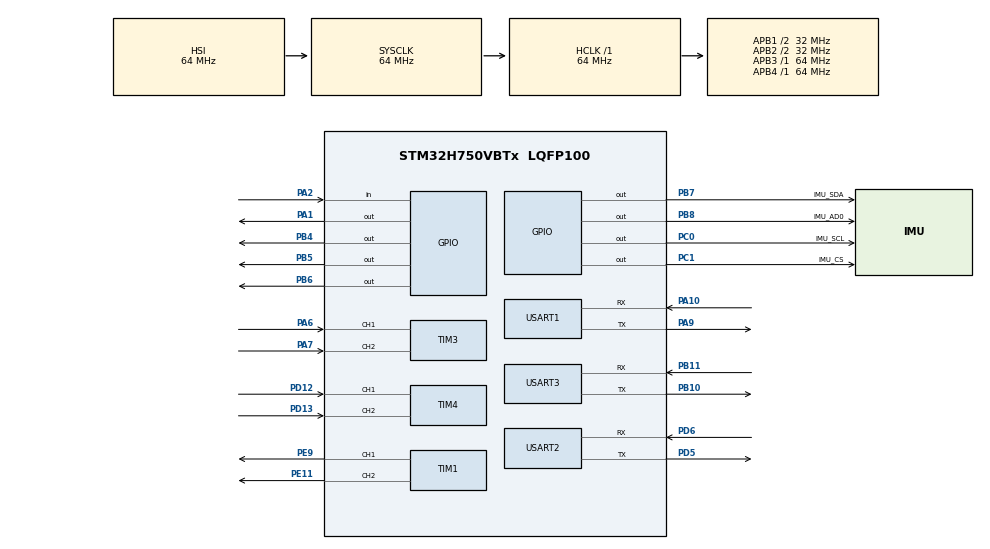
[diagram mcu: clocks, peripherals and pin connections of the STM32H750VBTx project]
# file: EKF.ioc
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Mcu.Family=STM32H7
Mcu.Name=STM32H750VBTx
Mcu.Package=LQFP100
NVIC.PriorityGroup=NVIC_PRIORITYGROUP_4
NVIC.TIM2_IRQn=true\:0\:0\:false\:false\:true\:true\:true\:true
NVIC.USART1_IRQn=true\:0\:0\:false\:false\:true\:true\:true\:true
PA1.GPIO_Speed=GPIO_SPEED_FREQ_HIGH
PA1.PinState=GPIO_PIN_SET
PA1.Signal=GPIO_Output
PA10.Mode=Asynchronous
PA10.Signal=USART1_RX
PA2.Signal=GPIO_Input
PA6.Signal=S_TIM3_CH1
PA7.Signal=S_TIM3_CH2
PA9.Mode=Asynchronous
PA9.Signal=USART1_TX
PB10.Mode=Asynchronous
PB10.Signal=USART3_TX
PB11.Mode=Asynchronous
PB11.Signal=USART3_RX
PB4\ (NJTRST).GPIO_ModeDefaultOutputPP=GPIO_MODE_OUTPUT_OD
PB4\ (NJTRST).GPIO_PuPd=GPIO_PULLUP
PB4\ (NJTRST).GPIO_Speed=GPIO_SPEED_FREQ_HIGH
PB4\ (NJTRST).PinState=GPIO_PIN_SET
PB4\ (NJTRST).Signal=GPIO_Output
PB5.GPIO_ModeDefaultOutputPP=GPIO_MODE_OUTPUT_OD
PB5.GPIO_PuPd=GPIO_PULLUP
PB5.GPIO_Speed=GPIO_SPEED_FREQ_HIGH
PB5.PinState=GPIO_PIN_SET
PB5.Signal=GPIO_Output
PB6.Signal=GPIO_Output
PB7.GPIO_Label=IMU_SDA
PB7.GPIO_ModeDefaultOutputPP=GPIO_MODE_OUTPUT_OD
PB7.GPIO_PuPd=GPIO_NOPULL
PB7.GPIO_Speed=GPIO_SPEED_FREQ_HIGH
PB7.PinState=GPIO_PIN_SET
PB7.Signal=GPIO_Output
PB8.GPIO_Label=IMU_AD0
PB8.GPIO_ModeDefaultOutputPP=GPIO_MODE_OUTPUT_PP
PB8.GPIO_PuPd=GPIO_PULLUP
PB8.GPIO_Speed=GPIO_SPEED_FREQ_MEDIUM
PB8.PinState=GPIO_PIN_SET
PB8.Signal=GPIO_Output
PC0.GPIO_Label=IMU_SCL
PC0.GPIO_ModeDefaultOutputPP=GPIO_MODE_OUTPUT_OD
PC0.GPIO_PuPd=GPIO_PULLUP
PC0.GPIO_Speed=GPIO_SPEED_FREQ_HIGH
PC0.PinState=GPIO_PIN_SET
PC0.Signal=GPIO_Output
PC1.GPIO_Label=IMU_CS
PC1.GPIO_ModeDefaultOutputPP=GPIO_MODE_OUTPUT_PP
PC1.GPIO_PuPd=GPIO_PULLUP
PC1.GPIO_Speed=GPIO_SPEED_FREQ_MEDIUM
PC1.PinState=GPIO_PIN_SET
PC1.Signal=GPIO_Output
PD12.Signal=S_TIM4_CH1
PD13.Signal=S_TIM4_CH2
PD5.Mode=Asynchronous
PD5.Signal=USART2_TX
PD6.Mode=Asynchronous
PD6.Signal=USART2_RX
PE11.Signal=S_TIM1_CH2
PE9.Signal=S_TIM1_CH1
PH0-OSC_IN\ (PH0).Mode=HSE-External-Oscillator
PH0-OSC_IN\ (PH0).Signal=RCC_OSC_IN
PH1-OSC_OUT\ (PH1).Mode=HSE-External-Oscillator
PH1-OSC_OUT\ (PH1).Signal=RCC_OSC_OUT
ProjectManager.HeapSize=0x200
ProjectManager.StackSize=0x400
ProjectManager.TargetToolchain=MDK-ARM V5.32
RCC.ADCFreq_Value=129000000
RCC.APB1Freq_Value=32000000
RCC.APB2Freq_Value=32000000
RCC.APB3Freq_Value=64000000
RCC.APB4Freq_Value=64000000
RCC.CortexFreq_Value=64000000
RCC.D2PPRE1=RCC_APB1_DIV2
RCC.D2PPRE2=RCC_APB2_DIV2
RCC.HCLKFreq_Value=64000000
RCC.PLL2FRACN=0
RCC.PLL3FRACN=0
RCC.PLLFRACN=0
RCC.SYSCLKFreq_VALUE=64000000
RCC.USBFreq_Value=129000000
SH.S_TIM1_CH1.0=TIM1_CH1,PWM Generation1 CH1
SH.S_TIM1_CH2.0=TIM1_CH2,Output Compare2 CH2
SH.S_TIM3_CH1.0=TIM3_CH1,Encoder_Interface
SH.S_TIM3_CH2.0=TIM3_CH2,Encoder_Interface
SH.S_TIM4_CH1.0=TIM4_CH1,Encoder_Interface
SH.S_TIM4_CH2.0=TIM4_CH2,Encoder_Interface
TIM1.Channel-Output\ Compare2\ CH2=TIM_CHANNEL_2
TIM1.Channel-PWM\ Generation1\ CH1=TIM_CHANNEL_1
TIM2.AutoReloadPreload=TIM_AUTORELOAD_PRELOAD_ENABLE
TIM2.Period=9
TIM2.Prescaler=31999
USART1.VirtualMode-Asynchronous=VM_ASYNC
USART2.VirtualMode-Asynchronous=VM_ASYNC
USART3.VirtualMode-Asynchronous=VM_ASYNC
VP_TIM2_VS_ClockSourceINT.Mode=Internal
board=custom

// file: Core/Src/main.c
/* USER CODE BEGIN Header */
/**
  ******************************************************************************
  * @file           : main.c
  * @brief          : Main program body
  ******************************************************************************
  * @attention
  *
  * Copyright (c) 2026 STMicroelectronics.
  * All rights reserved.
  *
  * This software is licensed under terms that can be found in the LICENSE file
  * in the root directory of this software component.
  * If no LICENSE file comes with this software, it is provided AS-IS.
  *
  ******************************************************************************
  */
/* USER CODE END Header */
#include "main.h"
#include "tim.h"
#include "usart.h"
#include "gpio.h"

/* USER CODE BEGIN Includes */
#include "stdio.h"
#include "icm42688.h"
#include "mahony_ahrs.h"
#include "quaternion.h"
/* USER CODE END Includes */

void SystemClock_Config(void);

/* USER CODE BEGIN 0 */
	char over_flag=0;
int fputc(int ch, FILE *f)
{
  HAL_UART_Transmit(&huart1, (uint8_t *)&ch, 1, 0xffff);
  return ch;
}

int fgetc(FILE *f)
{
  uint8_t ch = 0;
  HAL_UART_Receive(&huart1, &ch, 1, 0xffff);
  return ch;
}
/* USER CODE END 0 */

int main(void)
{

  /* MCU Configuration--------------------------------------------------------*/

  /* Reset of all peripherals, Initializes the Flash interface and the Systick. */
  HAL_Init();

  /* Configure the system clock */
  SystemClock_Config();

  /* Initialize all configured peripherals */
  MX_GPIO_Init();
  MX_USART1_UART_Init();
  MX_TIM2_Init();
  MX_TIM1_Init();
  MX_TIM3_Init();
  MX_TIM4_Init();
  MX_USART2_UART_Init();
  MX_USART3_UART_Init();
  /* USER CODE BEGIN 2 */
	Mahony_Init();
	int res=ICM42688P_Init();
	printf("%d\n\r",res);
		__HAL_TIM_CLEAR_IT(&htim2, TIM_IT_UPDATE);
	HAL_TIM_Base_Start_IT(&htim2);
  /* USER CODE END 2 */

  /* Infinite loop */
  /* USER CODE BEGIN WHILE */
  while (1)
  {
		if(over_flag==1){
			over_flag=0;
			printf("%lf,%lf,%lf,%lf,%lf,%lf\n\r",my_euler.pitch,my_euler.roll,my_euler.yaw,
																					ahrs_data.pitch,ahrs_data.roll,ahrs_data.yaw);
			//printf("%lf,%lf,%lf,%lf,%lf,%lf\n\r",icm_data.gyro_x,icm_data.gyro_y,icm_data.gyro_z, //g.x qian -  g.y zuo -    g.z xiangyou
																					//icm_data.accel_x,icm_data.accel_y,icm_data.accel_z);
		}
    /* USER CODE END WHILE */

  }
}

void SystemClock_Config(void)
{
  RCC_OscInitTypeDef RCC_OscInitStruct = {0};
  RCC_ClkInitTypeDef RCC_ClkInitStruct = {0};

  /** Supply configuration update enable
  */
  HAL_PWREx_ConfigSupply(PWR_LDO_SUPPLY);

  /** Configure the main internal regulator output voltage
  */
  __HAL_PWR_VOLTAGESCALING_CONFIG(PWR_REGULATOR_VOLTAGE_SCALE3);

  while(!__HAL_PWR_GET_FLAG(PWR_FLAG_VOSRDY)) {}

  /** Initializes the RCC Oscillators according to the specified parameters
  * in the RCC_OscInitTypeDef structure.
  */
  RCC_OscInitStruct.OscillatorType = RCC_OSCILLATORTYPE_HSI;
  RCC_OscInitStruct.HSIState = RCC_HSI_DIV1;
  RCC_OscInitStruct.HSICalibrationValue = RCC_HSICALIBRATION_DEFAULT;
  RCC_OscInitStruct.PLL.PLLState = RCC_PLL_NONE;
  if (HAL_RCC_OscConfig(&RCC_OscInitStruct) != HAL_OK)
  {
    Error_Handler();
  }

  /** Initializes the CPU, AHB and APB buses clocks
  */
  RCC_ClkInitStruct.ClockType = RCC_CLOCKTYPE_HCLK|RCC_CLOCKTYPE_SYSCLK
                              |RCC_CLOCKTYPE_PCLK1|RCC_CLOCKTYPE_PCLK2
                              |RCC_CLOCKTYPE_D3PCLK1|RCC_CLOCKTYPE_D1PCLK1;
  RCC_ClkInitStruct.SYSCLKSource = RCC_SYSCLKSOURCE_HSI;
  RCC_ClkInitStruct.SYSCLKDivider = RCC_SYSCLK_DIV1;
  RCC_ClkInitStruct.AHBCLKDivider = RCC_HCLK_DIV1;
  RCC_ClkInitStruct.APB3CLKDivider = RCC_APB3_DIV1;
  RCC_ClkInitStruct.APB1CLKDivider = RCC_APB1_DIV2;
  RCC_ClkInitStruct.APB2CLKDivider = RCC_APB2_DIV2;
  RCC_ClkInitStruct.APB4CLKDivider = RCC_APB4_DIV1;

  if (HAL_RCC_ClockConfig(&RCC_ClkInitStruct, FLASH_LATENCY_1) != HAL_OK)
  {
    Error_Handler();
  }
}

void Error_Handler(void)
{
  __disable_irq();
  while (1)
  {
  }
}
